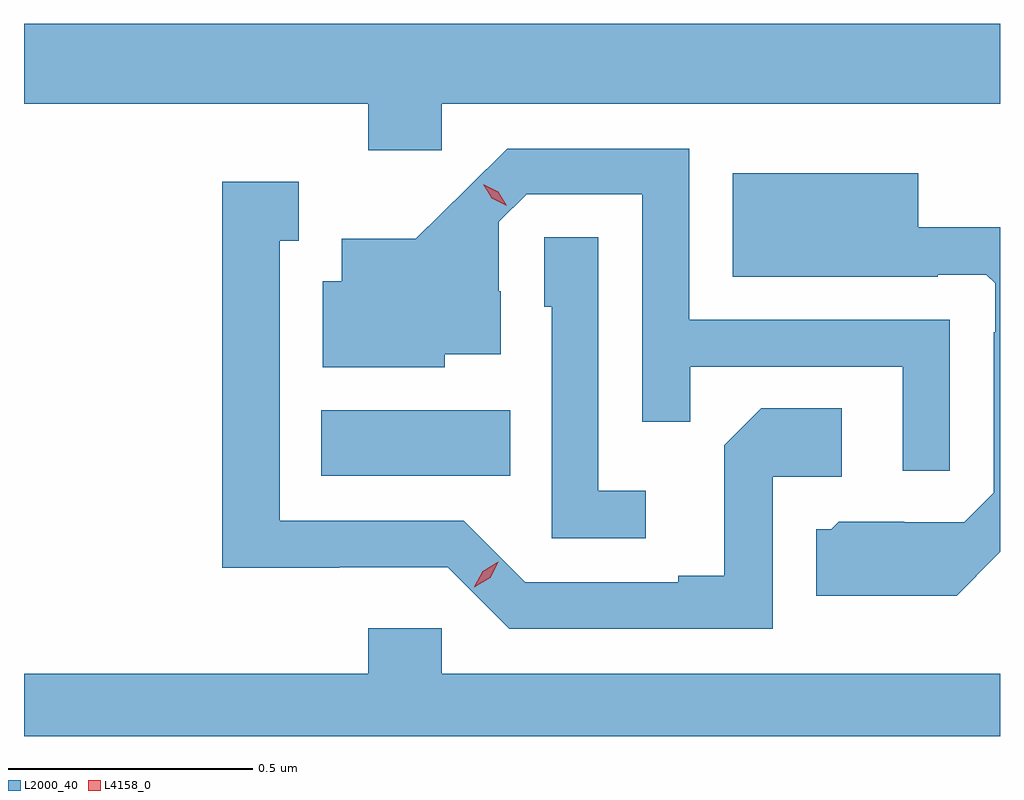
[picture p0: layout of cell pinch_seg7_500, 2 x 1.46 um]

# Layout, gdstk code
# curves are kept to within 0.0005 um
import gdstk
lib = gdstk.Library(unit=1e-6, precision=1e-09)
def R(c, l, rs):  # rectangles x0, y0, x1, y1
    for r in rs: c.add(gdstk.rectangle(r[:2], r[2:], *l))
def P(c, l, *ps):  # polygons
    for p in ps: c.add(gdstk.Polygon(p, *l))
L2000_40 = (2000, 40)
L4158_0 = (4158, 0)

pinch_seg7_500 = lib.new_cell('pinch_seg7_500')
R(pinch_seg7_500, L2000_40, [(231.941,1070.45,232.328,1070.584)])
P(pinch_seg7_500, L2000_40, [(232.188,1071.212),(233.332,1071.212),(233.332,1071.376),(231.332,1071.376),(231.332,1071.212),(232.037,1071.212),(232.037,1071.117),(232.188,1071.117)],
  [(233.229,1070.769),(232.695,1070.769),(232.695,1071.12),(232.322,1071.12),(232.135,1070.935),(231.983,1070.935),(231.983,1070.848),(231.944,1070.848),(231.944,1070.672),(232.194,1070.672),(232.194,1070.699),(232.309,1070.699),(232.309,1070.828),(232.305,1070.828),(232.305,1070.97),(232.362,1071.027),(232.599,1071.027),(232.599,1070.56),(232.697,1070.56),(232.697,1070.673),(233.133,1070.673),(233.133,1070.46),(233.229,1070.46)],
  [(233.323,1070.285),(233.332,1070.294),(233.332,1070.959),(233.164,1070.959),(233.164,1071.07),(232.784,1071.07),(232.784,1070.858),(233.204,1070.858),(233.204,1070.862),(233.304,1070.862),(233.322,1070.844),(233.322,1070.744),(233.319,1070.744),(233.319,1070.415),(233.259,1070.355),(233.136,1070.355),(233.136,1070.356),(233.002,1070.356),(232.986,1070.34),(232.955,1070.34),(232.955,1070.204),(233.243,1070.204)],
  [(232.866,1070.448),(233.008,1070.448),(233.008,1070.588),(232.843,1070.588),(232.767,1070.512),(232.767,1070.245),(232.673,1070.245),(232.673,1070.232),(232.359,1070.232),(232.233,1070.358),(231.856,1070.358),(231.856,1070.931),(231.895,1070.931),(231.895,1071.052),(231.738,1071.052),(231.738,1070.261),(231.978,1070.261),(231.978,1070.262),(232.2,1070.262),(232.326,1070.136),(232.866,1070.136)],
  [(232.606,1070.419),(232.509,1070.419),(232.509,1070.939),(232.398,1070.939),(232.398,1070.796),(232.413,1070.796),(232.413,1070.322),(232.606,1070.322)],
  [(233.332,1070.044),(232.188,1070.044),(232.188,1070.137),(232.037,1070.137),(232.037,1070.044),(231.332,1070.044),(231.332,1069.916),(233.332,1069.916)])
P(pinch_seg7_500, L4158_0, [(232.321,1071.003),(232.29,1071.018),(232.273,1071.047),(232.273,1071.047),(232.273,1071.047),(232.304,1071.032),(232.321,1071.003),(232.321,1071.003)],
  [(232.255,1070.221),(232.255,1070.222),(232.272,1070.254),(232.304,1070.274),(232.304,1070.274),(232.304,1070.273),(232.287,1070.241),(232.255,1070.221)])

lib.write_gds('pinch_seg7_500.gds')
